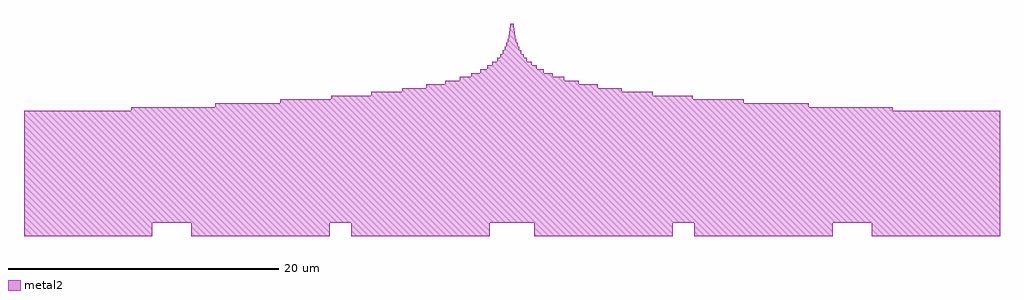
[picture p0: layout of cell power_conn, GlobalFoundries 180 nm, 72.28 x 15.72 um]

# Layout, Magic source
magic
tech gf180mcuD
magscale 1 5
use power_pad_pin  power_pad_pin_0
transform 1 0 -136 0 1 -35000
box 136 34900 7364 35000
use power_stub  power_stub_0
transform 1 0 0 0 1 0
box 0 0 7228 800
use power_taper  power_taper_0
transform 1 0 0 0 1 800
box 0 0 7228 672
<< end >>

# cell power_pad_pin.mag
magic
tech gf180mcuD
magscale 1 5
<< metal2 >>
rect 136 34900 1086 35000
rect 1376 34900 2401 35000
rect 2561 34900 3586 35000
rect 3914 34900 4939 35000
rect 5099 34900 6124 35000
rect 6414 34900 7364 35000
<< end >>

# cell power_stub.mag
magic
tech gf180mcuD
magscale 1 5
<< metal2 >>
rect 0 0 7228 800
<< end >>

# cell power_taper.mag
magic
tech gf180mcuD
magscale 1 5
<< metal2 >>
rect 3600 644 3628 672
rect 3599 616 3629 644
rect 3594 588 3634 616
rect 3589 560 3639 588
rect 3582 532 3646 560
rect 3573 504 3655 532
rect 3561 476 3667 504
rect 3546 448 3682 476
rect 3527 420 3701 448
rect 3503 392 3725 420
rect 3469 364 3759 392
rect 3431 336 3797 364
rect 3379 308 3849 336
rect 3313 280 3915 308
rect 3228 252 4000 280
rect 3119 224 4109 252
rect 2979 196 4249 224
rect 2800 168 4428 196
rect 2571 140 4657 168
rect 2276 112 4952 140
rect 1899 84 5329 112
rect 1415 56 5813 84
rect 795 28 6433 56
rect 0 0 7228 28
<< end >>
